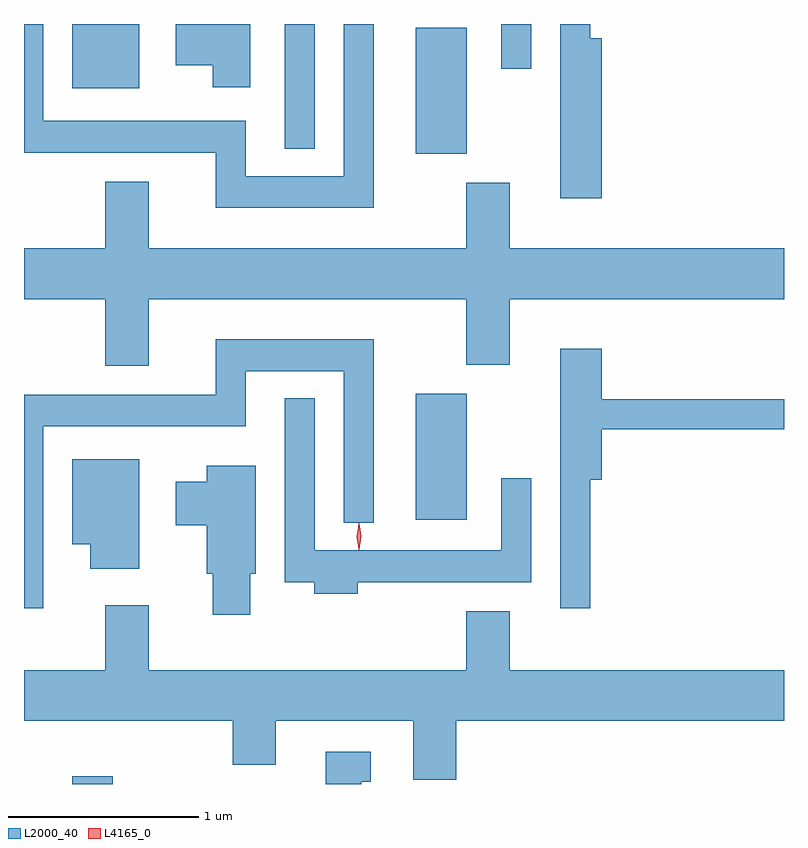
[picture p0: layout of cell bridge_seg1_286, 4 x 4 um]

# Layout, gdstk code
import gdstk
lib = gdstk.Library(unit=1e-6, precision=1e-09)
def R(c, l, rs):  # rectangles x0, y0, x1, y1
    for r in rs: c.add(gdstk.rectangle(r[:2], r[2:], *l))
def P(c, l, *ps):  # polygons
    for p in ps: c.add(gdstk.Polygon(p, *l))
L2000_40 = (2000, 40)
L4165_0 = (4165, 0)

bridge_seg1_286 = lib.new_cell('bridge_seg1_286')
R(bridge_seg1_286, L2000_40, [(867.976,899.244,868.189,899.284), (869.786,900.636,870.054,901.299), (869.786,902.561,870.054,903.224), (869.096,902.588,869.254,903.244), (867.976,902.906,868.329,903.244), (870.236,903.008,870.394,903.244)])
P(bridge_seg1_286, L2000_40, [(869.564,903.243),(869.406,903.243),(869.406,902.444),(868.889,902.444),(868.889,902.734),(867.824,902.734),(867.824,903.244),(867.723,903.244),(867.723,902.566),(868.731,902.566),(868.731,902.276),(869.564,902.276)],
  [(868.914,903.244),(868.521,903.244),(868.521,903.026),(868.716,903.026),(868.716,902.911),(868.914,902.911)],
  [(870.764,903.169),(870.704,903.169),(870.704,903.244),(870.546,903.244),(870.546,902.326),(870.764,902.326)],
  [(868.379,901.796),(870.051,901.796),(870.051,901.451),(870.279,901.451),(870.279,901.796),(871.723,901.796),(871.723,902.064),(870.279,902.064),(870.279,902.409),(870.051,902.409),(870.051,902.064),(868.379,902.064),(868.379,902.414),(868.151,902.414),(868.151,902.064),(867.723,902.064),(867.723,901.796),(868.151,901.796),(868.151,901.446),(868.379,901.446)],
  [(867.824,901.126),(868.889,901.126),(868.889,901.416),(869.406,901.416),(869.406,900.618),(869.564,900.618),(869.564,901.584),(868.731,901.584),(868.731,901.294),(867.723,901.294),(867.723,900.168),(867.824,900.168)],
  [(870.704,900.846),(870.764,900.846),(870.764,901.111),(871.723,901.111),(871.723,901.269),(870.764,901.269),(870.764,901.534),(870.546,901.534),(870.546,900.168),(870.704,900.168)],
  [(869.479,900.306),(870.394,900.306),(870.394,900.853),(870.236,900.853),(870.236,900.474),(869.254,900.474),(869.254,901.273),(869.096,901.273),(869.096,900.306),(869.251,900.306),(869.251,900.246),(869.479,900.246)],
  [(868.329,900.954),(867.976,900.954),(867.976,900.506),(868.071,900.506),(868.071,900.376),(868.329,900.376)],
  [(868.914,900.351),(868.944,900.351),(868.944,900.919),(868.686,900.919),(868.686,900.834),(868.521,900.834),(868.521,900.606),(868.686,900.606),(868.686,900.351),(868.716,900.351),(868.716,900.136),(868.914,900.136)],
  [(869.999,899.576),(871.723,899.576),(871.723,899.844),(870.279,899.844),(870.279,900.154),(870.051,900.154),(870.051,899.844),(868.379,899.844),(868.379,900.184),(868.151,900.184),(868.151,899.844),(867.723,899.844),(867.723,899.576),(868.821,899.576),(868.821,899.346),(869.049,899.346),(869.049,899.576),(869.771,899.576),(869.771,899.266),(869.999,899.266)],
  [(869.499,899.256),(869.548,899.256),(869.548,899.414),(869.311,899.414),(869.311,899.244),(869.499,899.244)])
P(bridge_seg1_286, L4165_0, [(869.486,900.477),(869.477,900.547),(869.486,900.616),(869.487,900.616),(869.488,900.616),(869.497,900.547),(869.488,900.477),(869.487,900.477)],
  [(869.485,900.479),(869.485,900.48),(869.475,900.546),(869.485,900.612),(869.485,900.613),(869.486,900.612),(869.495,900.546),(869.486,900.48)])

lib.write_gds('bridge_seg1_286.gds')
